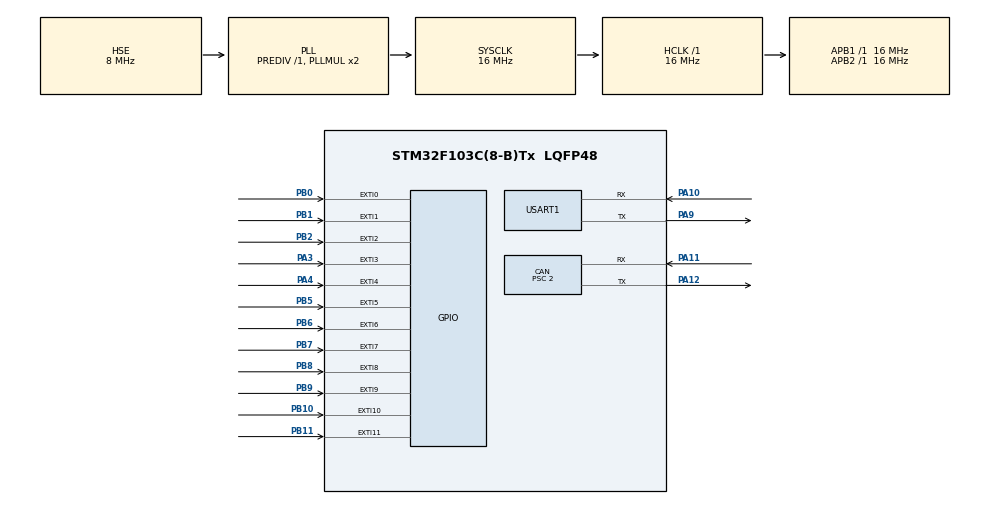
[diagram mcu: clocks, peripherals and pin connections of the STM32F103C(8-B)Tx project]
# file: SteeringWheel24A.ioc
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CAN.ABOM=ENABLE
CAN.AWUM=ENABLE
CAN.BS1=CAN_BS1_13TQ
CAN.BS2=CAN_BS2_2TQ
CAN.CalculateBaudRate=500000
CAN.CalculateTimeBit=2000
CAN.CalculateTimeQuantum=125.0
CAN.NART=ENABLE
CAN.Prescaler=2
Mcu.Family=STM32F1
Mcu.Name=STM32F103C(8-B)Tx
Mcu.Package=LQFP48
NVIC.CAN1_SCE_IRQn=true\:0\:0\:false\:false\:true\:true\:true\:true
NVIC.EXTI0_IRQn=true\:0\:0\:false\:false\:true\:true\:true\:true
NVIC.EXTI15_10_IRQn=true\:0\:0\:false\:false\:true\:true\:true\:true
NVIC.EXTI1_IRQn=true\:0\:0\:false\:false\:true\:true\:true\:true
NVIC.EXTI2_IRQn=true\:0\:0\:false\:false\:true\:true\:true\:true
NVIC.EXTI3_IRQn=true\:0\:0\:false\:false\:true\:true\:true\:true
NVIC.EXTI4_IRQn=true\:0\:0\:false\:false\:true\:true\:true\:true
NVIC.EXTI9_5_IRQn=true\:0\:0\:false\:false\:true\:true\:true\:true
NVIC.PriorityGroup=NVIC_PRIORITYGROUP_4
NVIC.TIM3_IRQn=true\:15\:0\:false\:false\:true\:false\:true\:true
NVIC.TimeBase=TIM3_IRQn
NVIC.TimeBaseIP=TIM3
PA10.Mode=Asynchronous
PA10.Signal=USART1_RX
PA11.Mode=CAN_Activate
PA11.Signal=CAN_RX
PA12.Mode=CAN_Activate
PA12.Signal=CAN_TX
PA13.Mode=JTAG_4_pins
PA13.Signal=SYS_JTMS-SWDIO
PA14.Mode=JTAG_4_pins
PA14.Signal=SYS_JTCK-SWCLK
PA15.Mode=JTAG_4_pins
PA15.Signal=SYS_JTDI
PA3.Signal=GPXTI3
PA4.Signal=GPXTI4
PA9.Mode=Asynchronous
PA9.Signal=USART1_TX
PB0.Signal=GPXTI0
PB1.Signal=GPXTI1
PB10.Signal=GPXTI10
PB11.Signal=GPXTI11
PB2.Signal=GPXTI2
PB3.Mode=JTAG_4_pins
PB3.Signal=SYS_JTDO-TRACESWO
PB5.Signal=GPXTI5
PB6.Signal=GPXTI6
PB7.Signal=GPXTI7
PB8.Signal=GPXTI8
PB9.Signal=GPXTI9
PD0-OSC_IN.Mode=HSE-External-Clock-Source
PD0-OSC_IN.Signal=RCC_OSC_IN
PD1-OSC_OUT.Mode=HSE-External-Clock-Source
PD1-OSC_OUT.Signal=RCC_OSC_OUT
ProjectManager.HeapSize=0x200
ProjectManager.StackSize=0x400
ProjectManager.TargetToolchain=Makefile
RCC.AHBFreq_Value=16000000
RCC.APB1Freq_Value=16000000
RCC.APB1TimFreq_Value=16000000
RCC.APB2Freq_Value=16000000
RCC.APB2TimFreq_Value=16000000
RCC.HCLKFreq_Value=16000000
RCC.PLLSourceVirtual=RCC_PLLSOURCE_HSE
RCC.SYSCLKFreq_VALUE=16000000
RCC.SYSCLKSource=RCC_SYSCLKSOURCE_PLLCLK
RCC.USBFreq_Value=16000000
USART1.VirtualMode=VM_ASYNC
VP_SYS_VS_tim3.Mode=TIM3
board=custom

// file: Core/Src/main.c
/* USER CODE BEGIN Header */
/**
  ******************************************************************************
  * @file           : main.c
  * @brief          : Main program body
  ******************************************************************************
  * @attention
  *
  * Copyright (c) 2024 STMicroelectronics.
  * All rights reserved.
  *
  * This software is licensed under terms that can be found in the LICENSE file
  * in the root directory of this software component.
  * If no LICENSE file comes with this software, it is provided AS-IS.
  *
  ******************************************************************************
  */
/* USER CODE END Header */
#include "main.h"

/* USER CODE BEGIN Includes */
#include "can.h"
#include <stdlib.h>
#include <string.h>
#include "steering_io.h"
/* USER CODE END Includes */

/* USER CODE BEGIN PD */
volatile uint8_t flag;
volatile uint16_t gpio_pin;
/* USER CODE END PD */

CAN_HandleTypeDef hcan;

UART_HandleTypeDef huart1;

/* USER CODE BEGIN PV */
can_t *can;
/* USER CODE END PV */

void SystemClock_Config(void);
static void MX_GPIO_Init(void);
static void MX_CAN_Init(void);
static void MX_USART1_UART_Init(void);
/* USER CODE BEGIN PFP */
void determine_action(uint16_t GPIO_Pin);
/* USER CODE END PFP */

/* USER CODE BEGIN 0 */
#ifdef __GNUC__
#define PUTCHAR_PROTOTYPE int __io_putchar(int ch)
#else
#define PUTCHAR_PROTOTYPE int fputc(int ch, FILE *f)
#endif

PUTCHAR_PROTOTYPE
{
  HAL_UART_Transmit(&huart1, (uint8_t *)&ch, 1, HAL_MAX_DELAY);
  return ch;
}

int _write(int file, char* ptr, int len) {
  int DataIdx;

  for (DataIdx = 0; DataIdx < len; DataIdx++) {
    __io_putchar( *ptr++ );
  }
  return len;
}

void HAL_GPIO_EXTI_Callback(uint16_t GPIO_Pin)
{
  flag = 1;
  gpio_pin = GPIO_Pin;
}
/* USER CODE END 0 */

int main(void)
{

  /* MCU Configuration--------------------------------------------------------*/

  /* Reset of all peripherals, Initializes the Flash interface and the Systick. */
  HAL_Init();

  /* USER CODE BEGIN Init */
  can = malloc(sizeof(can_t));
	can->hcan = &hcan;

  /* USER CODE END Init */

  /* Configure the system clock */
  SystemClock_Config();

  /* Initialize all configured peripherals */
  MX_GPIO_Init();
  MX_CAN_Init();
  MX_USART1_UART_Init();
  /* USER CODE BEGIN 2 */
  printf("INITIALIZED!");
  /* USER CODE END 2 */

  /* Infinite loop */
  /* USER CODE BEGIN WHILE */
	while (1)
  {
    if(flag) {
      flag = 0;
      determine_action(gpio_pin);
    }
	}
    /* USER CODE END WHILE */

}

void SystemClock_Config(void)
{
  RCC_OscInitTypeDef RCC_OscInitStruct = {0};
  RCC_ClkInitTypeDef RCC_ClkInitStruct = {0};

  /** Initializes the RCC Oscillators according to the specified parameters
  * in the RCC_OscInitTypeDef structure.
  */
  RCC_OscInitStruct.OscillatorType = RCC_OSCILLATORTYPE_HSE;
  RCC_OscInitStruct.HSEState = RCC_HSE_BYPASS;
  RCC_OscInitStruct.HSEPredivValue = RCC_HSE_PREDIV_DIV1;
  RCC_OscInitStruct.HSIState = RCC_HSI_ON;
  RCC_OscInitStruct.PLL.PLLState = RCC_PLL_ON;
  RCC_OscInitStruct.PLL.PLLSource = RCC_PLLSOURCE_HSE;
  RCC_OscInitStruct.PLL.PLLMUL = RCC_PLL_MUL2;
  if (HAL_RCC_OscConfig(&RCC_OscInitStruct) != HAL_OK)
  {
    Error_Handler();
  }

  /** Initializes the CPU, AHB and APB buses clocks
  */
  RCC_ClkInitStruct.ClockType = RCC_CLOCKTYPE_HCLK|RCC_CLOCKTYPE_SYSCLK
                              |RCC_CLOCKTYPE_PCLK1|RCC_CLOCKTYPE_PCLK2;
  RCC_ClkInitStruct.SYSCLKSource = RCC_SYSCLKSOURCE_PLLCLK;
  RCC_ClkInitStruct.AHBCLKDivider = RCC_SYSCLK_DIV1;
  RCC_ClkInitStruct.APB1CLKDivider = RCC_HCLK_DIV1;
  RCC_ClkInitStruct.APB2CLKDivider = RCC_HCLK_DIV1;

  if (HAL_RCC_ClockConfig(&RCC_ClkInitStruct, FLASH_LATENCY_0) != HAL_OK)
  {
    Error_Handler();
  }
}

static void MX_CAN_Init(void)
{

  hcan.Instance = CAN1;
  hcan.Init.Prescaler = 2;
  hcan.Init.Mode = CAN_MODE_NORMAL;
  hcan.Init.SyncJumpWidth = CAN_SJW_1TQ;
  hcan.Init.TimeSeg1 = CAN_BS1_13TQ;
  hcan.Init.TimeSeg2 = CAN_BS2_2TQ;
  hcan.Init.TimeTriggeredMode = DISABLE;
  hcan.Init.AutoBusOff = ENABLE;
  hcan.Init.AutoWakeUp = ENABLE;
  hcan.Init.AutoRetransmission = ENABLE;
  hcan.Init.ReceiveFifoLocked = DISABLE;
  hcan.Init.TransmitFifoPriority = DISABLE;
  if (HAL_CAN_Init(&hcan) != HAL_OK)
  {
    Error_Handler();
  }

}

static void MX_USART1_UART_Init(void)
{

  huart1.Instance = USART1;
  huart1.Init.BaudRate = 115200;
  huart1.Init.WordLength = UART_WORDLENGTH_8B;
  huart1.Init.StopBits = UART_STOPBITS_1;
  huart1.Init.Parity = UART_PARITY_NONE;
  huart1.Init.Mode = UART_MODE_TX_RX;
  huart1.Init.HwFlowCtl = UART_HWCONTROL_NONE;
  huart1.Init.OverSampling = UART_OVERSAMPLING_16;
  if (HAL_UART_Init(&huart1) != HAL_OK)
  {
    Error_Handler();
  }

}

static void MX_GPIO_Init(void)
{
  GPIO_InitTypeDef GPIO_InitStruct = {0};

  /* GPIO Ports Clock Enable */
  __HAL_RCC_GPIOD_CLK_ENABLE();
  __HAL_RCC_GPIOA_CLK_ENABLE();
  __HAL_RCC_GPIOB_CLK_ENABLE();

  /*Configure GPIO pins : PA3 PA4 */
  GPIO_InitStruct.Pin = GPIO_PIN_3|GPIO_PIN_4;
  GPIO_InitStruct.Mode = GPIO_MODE_IT_RISING;
  GPIO_InitStruct.Pull = GPIO_NOPULL;
  HAL_GPIO_Init(GPIOA, &GPIO_InitStruct);

  /*Configure GPIO pins : PB0 PB1 PB2 PB10
                           PB11 PB5 PB6 PB7
                           PB8 PB9 */
  GPIO_InitStruct.Pin = GPIO_PIN_0|GPIO_PIN_1|GPIO_PIN_2|GPIO_PIN_10
                          |GPIO_PIN_11|GPIO_PIN_5|GPIO_PIN_6|GPIO_PIN_7
                          |GPIO_PIN_8|GPIO_PIN_9;
  GPIO_InitStruct.Mode = GPIO_MODE_IT_RISING;
  GPIO_InitStruct.Pull = GPIO_NOPULL;
  HAL_GPIO_Init(GPIOB, &GPIO_InitStruct);

  /* EXTI interrupt init*/
  HAL_NVIC_SetPriority(EXTI0_IRQn, 0, 0);
  HAL_NVIC_EnableIRQ(EXTI0_IRQn);

  HAL_NVIC_SetPriority(EXTI1_IRQn, 0, 0);
  HAL_NVIC_EnableIRQ(EXTI1_IRQn);

  HAL_NVIC_SetPriority(EXTI2_IRQn, 0, 0);
  HAL_NVIC_EnableIRQ(EXTI2_IRQn);

  HAL_NVIC_SetPriority(EXTI3_IRQn, 0, 0);
  HAL_NVIC_EnableIRQ(EXTI3_IRQn);

  HAL_NVIC_SetPriority(EXTI4_IRQn, 0, 0);
  HAL_NVIC_EnableIRQ(EXTI4_IRQn);

  HAL_NVIC_SetPriority(EXTI9_5_IRQn, 0, 0);
  HAL_NVIC_EnableIRQ(EXTI9_5_IRQn);

  HAL_NVIC_SetPriority(EXTI15_10_IRQn, 0, 0);
  HAL_NVIC_EnableIRQ(EXTI15_10_IRQn);

}

/* USER CODE BEGIN 4 */
void determine_action(uint16_t GPIO_Pin) {
  uint8_t button_id;
  uint8_t dial_id;
  switch (GPIO_Pin) {
		case BUTTON_1_PIN:
			button_id = BUTTON_LEFT;
      button_pressed(GPIOB, GPIO_Pin, button_id, can);
			break;
		case BUTTON_2_PIN:
			button_id = BUTTON_RIGHT;
      button_pressed(GPIOB, GPIO_Pin, button_id, can);
			break;
		case BUTTON_3_PIN:
			button_id = BUTTON_ESC;
      button_pressed(GPIOB, GPIO_Pin, button_id, can);
			break;
		case BUTTON_4_PIN:
      button_id = BUTTON_UP;
			button_pressed(GPIOA, GPIO_Pin, button_id, can);
			break;
		case BUTTON_5_PIN:
      button_id = BUTTON_DOWN;
			button_pressed(GPIOB, GPIO_Pin, button_id, can);
			break;
		case BUTTON_6_PIN:
      button_id = BUTTON_ENTER;
			button_pressed(GPIOB, GPIO_Pin, button_id, can);
			break;
    case SPARE_BUTTON_PIN:
      button_id = SPARE_BUTTON;
      button_pressed(GPIOA, GPIO_Pin, button_id, can);
      break;
    case SWITCH_1_PIN:
      dial_id = DIAL_SWITCH_1;
      dial_switched(GPIOB, GPIO_Pin, dial_id, can);
      break;
    case SWITCH_2_PIN:
      dial_id = DIAL_SWITCH_2;
      dial_switched(GPIOB, GPIO_Pin, dial_id, can);
      break;
    case SWITCH_3_PIN:
      dial_id = DIAL_SWITCH_3;
      dial_switched(GPIOB, GPIO_Pin, dial_id, can);
      break;
    case SWITCH_4_PIN:
      dial_id = DIAL_SWITCH_4;
      dial_switched(GPIOB, GPIO_Pin, dial_id, can);
      break;
    case SWITCH_5_PIN:
      dial_id = DIAL_SWITCH_5;
      dial_switched(GPIOB, GPIO_Pin, dial_id, can);
      break;
		default:
			break;
	}
}
/* USER CODE END 4 */

void HAL_TIM_PeriodElapsedCallback(TIM_HandleTypeDef *htim)
{
  if (htim->Instance == TIM3) {
    HAL_IncTick();
  }
}

void Error_Handler(void)
{
	__disable_irq();
}
